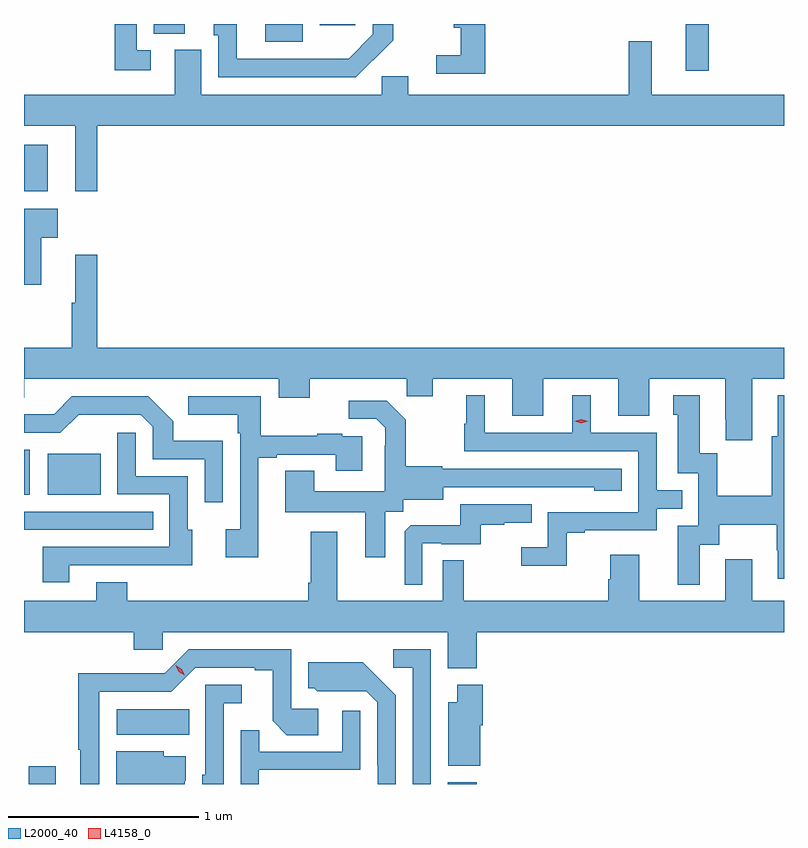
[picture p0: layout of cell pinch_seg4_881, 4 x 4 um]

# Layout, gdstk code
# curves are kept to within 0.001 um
import gdstk
lib = gdstk.Library(unit=1e-6, precision=1e-09)
def R(c, l, rs):  # rectangles x0, y0, x1, y1
    for r in rs: c.add(gdstk.rectangle(r[:2], r[2:], *l))
def P(c, l, *ps):  # polygons
    for p in ps: c.add(gdstk.Polygon(p, *l))
L2000_40 = (2000, 40)
L4158_0 = (4158, 0)

pinch_seg4_881 = lib.new_cell('pinch_seg4_881')
R(pinch_seg4_881, L2000_40, [(733.427,826.656,733.567,826.75), (735.632,826.656,735.785,826.666), (733.89,826.916,734.27,827.05), (733.401,828.179,733.432,828.415), (733.526,828.179,733.804,828.394), (733.401,829.775,733.525,830.02), (736.883,830.409,737.005,830.656), (734.67,830.562,734.868,830.656), (734.084,830.605,734.248,830.656), (734.957,830.649,735.145,830.656)])
P(pinch_seg4_881, L2000_40, [(734.068,830.517),(733.995,830.517),(733.995,830.656),(733.879,830.656),(733.879,830.412),(734.068,830.412)],
  [(735.828,830.656),(735.662,830.656),(735.662,830.636),(735.699,830.636),(735.699,830.491),(735.57,830.491),(735.57,830.394),(735.828,830.394)],
  [(735.239,830.467),(735.24,830.466),(735.345,830.571),(735.345,830.656),(735.237,830.656),(735.237,830.601),(735.109,830.473),(735.005,830.472),(734.521,830.472),(734.521,830.656),(734.399,830.656),(734.399,830.598),(734.424,830.598),(734.424,830.376),(735.148,830.376)],
  [(733.787,830.12),(737.401,830.12),(737.401,830.284),(736.705,830.284),(736.705,830.566),(736.584,830.566),(736.584,830.284),(735.424,830.284),(735.424,830.382),(735.285,830.382),(735.285,830.284),(734.335,830.284),(734.335,830.52),(734.195,830.52),(734.195,830.284),(733.401,830.284),(733.401,830.12),(733.67,830.12),(733.67,829.776),(733.787,829.776)],
  [(733.493,829.532),(733.579,829.532),(733.579,829.684),(733.401,829.684),(733.401,829.284),(733.493,829.284)],
  [(737.233,828.788),(737.401,828.788),(737.401,828.952),(733.787,828.952),(733.787,829.441),(733.67,829.441),(733.67,829.188),(733.651,829.188),(733.651,828.952),(733.401,828.952),(733.401,828.69),(733.402,828.69),(733.402,828.788),(734.741,828.788),(734.741,828.689),(734.905,828.689),(734.905,828.788),(735.415,828.788),(735.415,828.698),(735.553,828.698),(735.553,828.788),(735.971,828.788),(735.971,828.594),(736.135,828.594),(736.135,828.788),(736.529,828.788),(736.529,828.594),(736.693,828.594),(736.693,828.788),(737.093,828.788),(737.093,828.577),(737.095,828.577),(737.095,828.465),(737.233,828.465)],
  [(736.957,827.914),(737.059,827.914),(737.059,828.02),(737.362,828.02),(737.362,827.886),(737.369,827.886),(737.369,827.736),(737.401,827.736),(737.401,828.703),(737.369,828.703),(737.369,828.487),(737.336,828.487),(737.336,828.172),(737.05,828.172),(737.05,828.397),(736.957,828.397),(736.957,828.703),(736.817,828.703),(736.817,828.6),(736.841,828.6),(736.841,828.291),(736.95,828.291),(736.95,828.015),(736.841,828.015),(736.841,827.706),(736.957,827.706)],
  [(736.257,827.979),(736.351,827.979),(736.351,827.991),(736.731,827.991),(736.731,828.105),(736.865,828.105),(736.865,828.201),(736.731,828.201),(736.731,828.504),(736.384,828.504),(736.384,828.703),(736.286,828.703),(736.286,828.504),(735.826,828.504),(735.826,828.703),(735.728,828.703),(735.728,828.552),(735.717,828.552),(735.717,828.408),(736.635,828.408),(736.635,828.087),(736.158,828.087),(736.158,827.902),(736.017,827.902),(736.017,827.804),(736.257,827.804)],
  [(734.448,828.463),(734.187,828.463),(734.187,828.566),(734.056,828.696),(733.653,828.696),(733.559,828.602),(733.401,828.602),(733.401,828.504),(733.593,828.504),(733.688,828.599),(734.016,828.6),(734.079,828.537),(734.079,828.366),(734.352,828.366),(734.352,828.138),(734.448,828.138)],
  [(734.635,828.372),(734.731,828.372),(734.731,828.39),(735.041,828.39),(735.041,828.306),(735.181,828.306),(735.181,828.486),(735.077,828.486),(735.077,828.499),(734.945,828.499),(734.945,828.488),(734.647,828.488),(734.647,828.696),(734.265,828.696),(734.265,828.599),(734.526,828.599),(734.526,828.503),(734.538,828.503),(734.538,827.998),(734.463,827.998),(734.463,827.85),(734.635,827.85)],
  [(735.301,828.088),(735.396,828.088),(735.396,828.152),(735.607,828.152),(735.607,828.219),(736.401,828.218),(736.401,828.2),(736.546,828.2),(736.546,828.315),(735.603,828.315),(735.603,828.328),(735.411,828.328),(735.411,828.573),(735.311,828.673),(735.111,828.673),(735.111,828.579),(735.255,828.579),(735.302,828.532),(735.302,828.437),(735.3,828.437),(735.3,828.196),(734.929,828.196),(734.929,828.305),(734.777,828.305),(734.777,828.086),(735.197,828.086),(735.197,827.85),(735.301,827.85)],
  [(733.639,827.808),(734.069,827.808),(734.069,827.807),(734.287,827.807),(734.287,827.994),(734.262,827.994),(734.262,828.276),(733.989,828.276),(733.989,828.505),(733.893,828.505),(733.893,828.18),(734.166,828.18),(734.166,827.904),(733.499,827.904),(733.499,827.718),(733.639,827.718)],
  [(735.498,827.922),(735.598,827.922),(735.598,827.919),(735.806,827.919),(735.806,828.021),(735.929,828.021),(735.929,828.032),(736.073,828.032),(736.073,828.129),(735.696,828.129),(735.696,828.017),(735.437,828.017),(735.405,827.985),(735.405,827.705),(735.498,827.705)],
  [(733.403,827.994),(734.081,827.994),(734.081,828.09),(733.401,828.09),(733.401,827.993),(733.403,827.993)],
  [(735.632,827.264),(735.785,827.264),(735.785,827.456),(737.401,827.456),(737.401,827.62),(737.233,827.62),(737.233,827.839),(737.093,827.839),(737.093,827.62),(736.639,827.62),(736.639,827.863),(736.487,827.863),(736.487,827.733),(736.475,827.733),(736.475,827.62),(735.715,827.62),(735.715,827.834),(735.606,827.834),(735.606,827.62),(735.049,827.62),(735.049,827.983),(734.909,827.983),(734.909,827.716),(734.897,827.716),(734.897,827.62),(733.945,827.62),(733.945,827.719),(733.781,827.719),(733.781,827.62),(733.401,827.62),(733.401,827.456),(733.979,827.456),(733.979,827.363),(734.13,827.363),(734.13,827.456),(735.632,827.456)],
  [(735.543,827.364),(735.345,827.364),(735.345,827.268),(735.447,827.268),(735.447,826.656),(735.543,826.656)],
  [(733.798,827.142),(734.175,827.142),(734.301,827.268),(734.615,827.268),(734.615,827.256),(734.709,827.256),(734.709,826.988),(734.785,826.912),(734.95,826.912),(734.95,827.052),(734.808,827.052),(734.808,827.364),(734.268,827.364),(734.142,827.238),(733.92,827.238),(733.92,827.24),(733.687,827.24),(733.687,826.837),(733.697,826.837),(733.697,826.656),(733.798,826.656)],
  [(735.357,827.122),(735.185,827.296),(734.897,827.296),(734.897,827.16),(734.928,827.16),(734.944,827.144),(735.201,827.145),(735.261,827.085),(735.261,826.756),(735.264,826.756),(735.264,826.656),(735.357,826.656)],
  [(735.802,826.965),(735.815,826.965),(735.815,827.179),(735.68,827.179),(735.68,827.086),(735.635,827.086),(735.635,826.751),(735.802,826.751)],
  [(734.451,827.081),(734.548,827.081),(734.548,827.178),(734.355,827.178),(734.355,826.704),(734.34,826.704),(734.34,826.656),(734.451,826.656)],
  [(734.637,826.731),(735.171,826.731),(735.171,827.041),(735.075,827.041),(735.075,826.827),(734.639,826.827),(734.639,826.94),(734.541,826.94),(734.541,826.656),(734.637,826.656)],
  [(734.247,826.672),(734.251,826.672),(734.251,826.801),(734.136,826.801),(734.136,826.828),(733.886,826.828),(733.886,826.656),(734.247,826.656)])
P(pinch_seg4_881, L4158_0, [(734.248,827.228),(734.216,827.248),(734.199,827.28),(734.199,827.281),(734.2,827.281),(734.231,827.261),(734.248,827.229),(734.248,827.228)],
  [(736.335,828.556),(736.3,828.566),(736.299,828.566),(736.3,828.566),(736.335,828.576),(736.37,828.566),(736.371,828.566),(736.37,828.566)])

lib.write_gds('pinch_seg4_881.gds')
